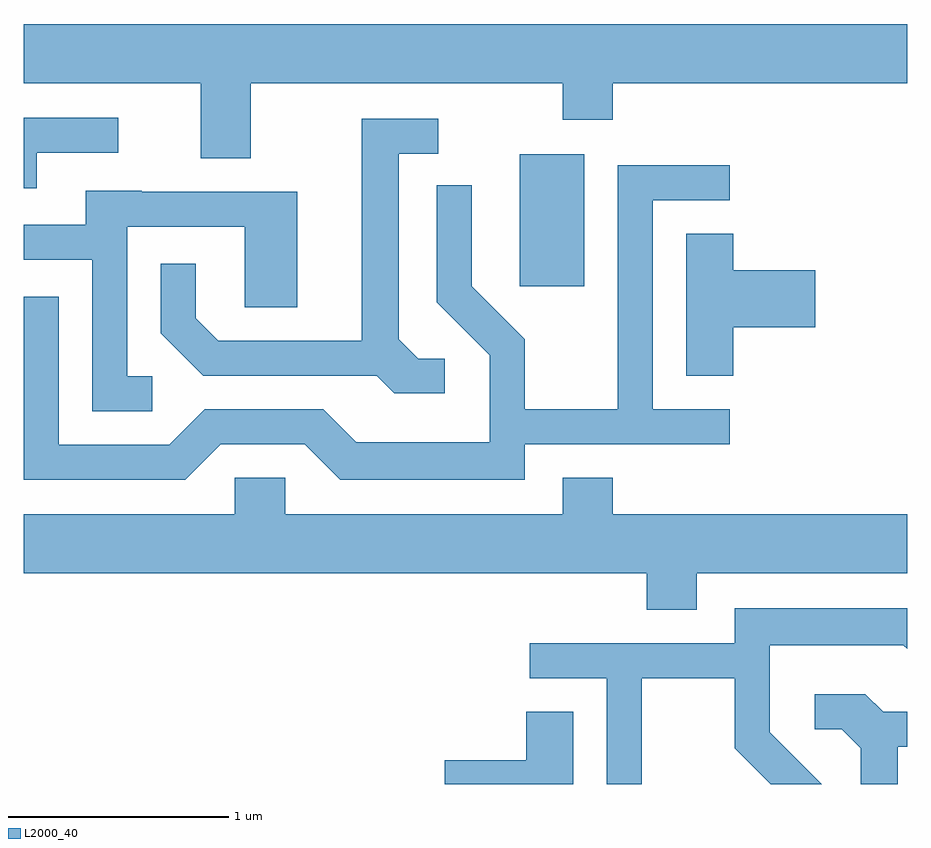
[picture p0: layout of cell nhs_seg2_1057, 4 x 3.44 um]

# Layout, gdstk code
import gdstk
lib = gdstk.Library(unit=1e-6, precision=1e-09)
def R(c, l, rs):  # rectangles x0, y0, x1, y1
    for r in rs: c.add(gdstk.rectangle(r[:2], r[2:], *l))
def P(c, l, *ps):  # polygons
    for p in ps: c.add(gdstk.Polygon(p, *l))
L2000_40 = (2000, 40)

nhs_seg2_1057 = lib.new_cell('nhs_seg2_1057')
R(nhs_seg2_1057, L2000_40, [(217.856,1054.056,218.149,1054.654)])
P(nhs_seg2_1057, L2000_40, [(216.639,1054.976),(218.051,1054.976),(218.051,1054.811),(218.279,1054.811),(218.279,1054.976),(219.611,1054.976),(219.611,1055.244),(215.611,1055.244),(215.611,1054.976),(216.411,1054.976),(216.411,1054.636),(216.639,1054.636)],
  [(215.669,1054.661),(216.038,1054.661),(216.038,1054.819),(215.611,1054.819),(215.611,1054.501),(215.669,1054.501)],
  [(217.518,1053.729),(217.397,1053.729),(217.309,1053.817),(217.309,1054.656),(217.488,1054.656),(217.488,1054.814),(217.141,1054.814),(217.141,1053.809),(216.492,1053.809),(216.389,1053.912),(216.389,1054.158),(216.231,1054.158),(216.231,1053.844),(216.424,1053.651),(217.209,1053.651),(217.289,1053.571),(217.518,1053.571)],
  [(216.502,1053.341),(216.884,1053.341),(217.044,1053.181),(217.879,1053.181),(217.879,1053.341),(218.808,1053.341),(218.808,1053.499),(218.459,1053.499),(218.459,1054.446),(218.808,1054.446),(218.808,1054.604),(218.301,1054.604),(218.301,1053.499),(217.879,1053.499),(217.879,1053.817),(217.639,1054.057),(217.639,1054.513),(217.481,1054.513),(217.481,1053.984),(217.721,1053.744),(217.721,1053.349),(217.117,1053.349),(216.967,1053.499),(216.429,1053.499),(216.269,1053.339),(215.769,1053.339),(215.769,1054.009),(215.611,1054.009),(215.611,1053.181),(216.342,1053.181)],
  [(216.193,1053.649),(216.079,1053.649),(216.079,1054.326),(216.611,1054.326),(216.611,1053.961),(216.849,1053.961),(216.849,1054.484),(216.145,1054.484),(216.145,1054.489),(215.891,1054.489),(215.891,1054.334),(215.611,1054.334),(215.611,1054.176),(215.921,1054.176),(215.921,1053.491),(216.193,1053.491)],
  [(218.824,1053.871),(219.194,1053.871),(219.194,1054.129),(218.824,1054.129),(218.824,1054.294),(218.611,1054.294),(218.611,1053.651),(218.824,1053.651)],
  [(218.659,1052.756),(219.611,1052.756),(219.611,1053.024),(218.279,1053.024),(218.279,1053.189),(218.051,1053.189),(218.051,1053.024),(216.794,1053.024),(216.794,1053.189),(216.566,1053.189),(216.566,1053.024),(215.611,1053.024),(215.611,1052.756),(218.431,1052.756),(218.431,1052.591),(218.659,1052.591)],
  [(218.409,1052.281),(218.831,1052.281),(218.831,1051.964),(218.993,1051.802),(219.224,1051.802),(218.989,1052.037),(218.989,1052.431),(219.594,1052.431),(219.611,1052.414),(219.611,1052.599),(218.831,1052.599),(218.831,1052.439),(217.903,1052.439),(217.903,1052.281),(218.251,1052.281),(218.251,1051.802),(218.409,1051.802)],
  [(219.569,1051.971),(219.611,1051.971),(219.611,1052.129),(219.502,1052.129),(219.422,1052.209),(219.193,1052.209),(219.193,1052.051),(219.314,1052.051),(219.401,1051.964),(219.401,1051.802),(219.569,1051.802)],
  [(218.099,1052.129),(217.886,1052.129),(217.886,1051.909),(217.516,1051.909),(217.516,1051.802),(218.099,1051.802)])

lib.write_gds('nhs_seg2_1057.gds')
